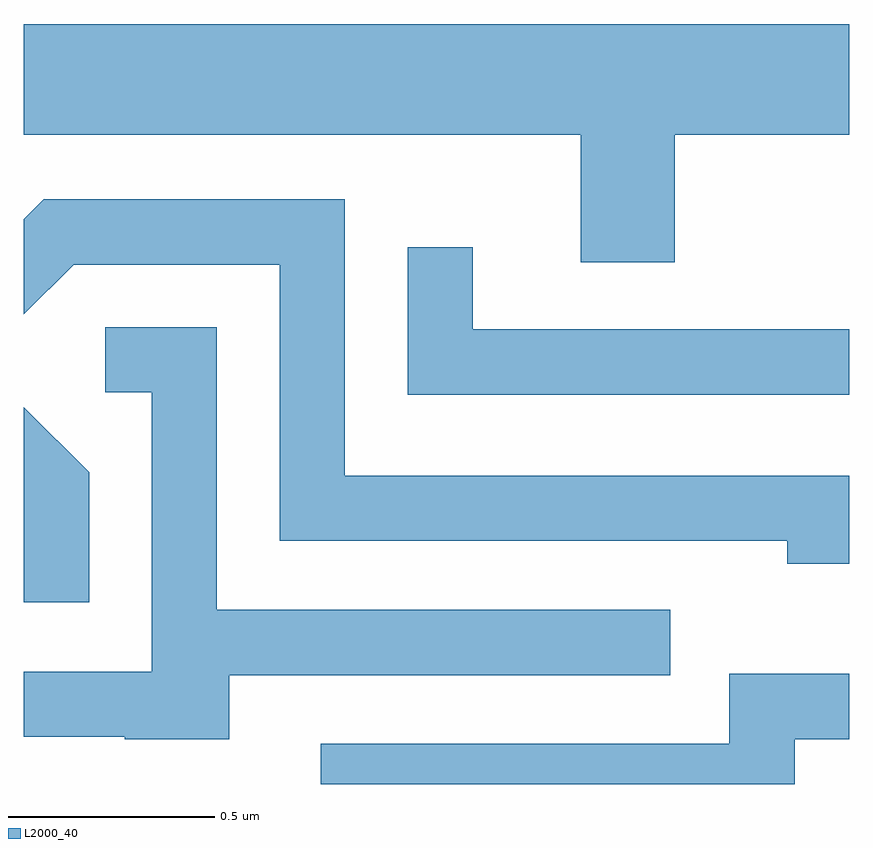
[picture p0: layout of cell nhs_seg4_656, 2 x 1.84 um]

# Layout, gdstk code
import gdstk
lib = gdstk.Library(unit=1e-6, precision=1e-09)
def P(c, l, *ps):  # polygons
    for p in ps: c.add(gdstk.Polygon(p, *l))
L2000_40 = (2000, 40)

nhs_seg4_656 = lib.new_cell('nhs_seg4_656')
P(nhs_seg4_656, L2000_40, [(191.189,1363.556),(191.611,1363.556),(191.611,1363.824),(189.611,1363.824),(189.611,1363.556),(190.961,1363.556),(190.961,1363.246),(191.189,1363.246)],
  [(191.611,1362.729),(190.389,1362.729),(190.389,1363.399),(189.659,1363.399),(189.611,1363.351),(189.611,1363.12),(189.732,1363.241),(190.231,1363.241),(190.231,1362.571),(191.461,1362.571),(191.461,1362.516),(191.611,1362.516)],
  [(191.611,1363.084),(190.699,1363.084),(190.699,1363.283),(190.541,1363.283),(190.541,1362.926),(191.611,1362.926)],
  [(190.109,1362.246),(191.178,1362.246),(191.178,1362.404),(190.079,1362.404),(190.079,1363.089),(189.808,1363.089),(189.808,1362.931),(189.921,1362.931),(189.921,1362.254),(189.611,1362.254),(189.611,1362.096),(189.855,1362.096),(189.855,1362.091),(190.109,1362.091)],
  [(189.769,1362.737),(189.611,1362.895),(189.611,1362.423),(189.769,1362.423)],
  [(191.479,1362.091),(191.611,1362.091),(191.611,1362.249),(191.321,1362.249),(191.321,1362.079),(190.331,1362.079),(190.331,1361.982),(191.479,1361.982)])

lib.write_gds('nhs_seg4_656.gds')
